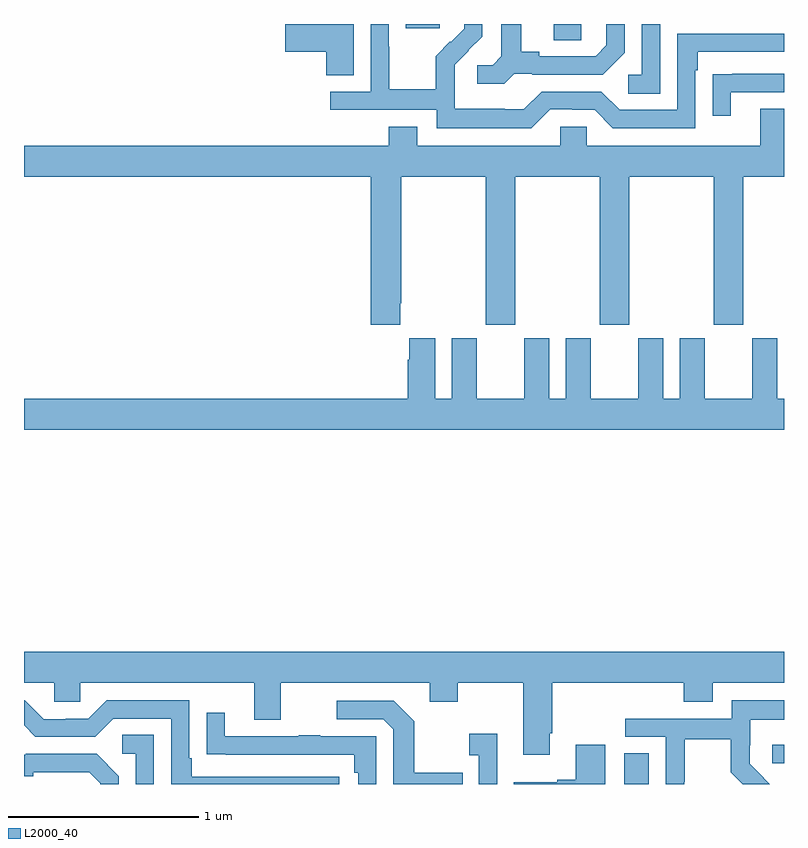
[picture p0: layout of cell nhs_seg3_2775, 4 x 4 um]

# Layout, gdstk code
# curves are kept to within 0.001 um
import gdstk
lib = gdstk.Library(unit=1e-6, precision=1e-09)
def R(c, l, rs):  # rectangles x0, y0, x1, y1
    for r in rs: c.add(gdstk.rectangle(r[:2], r[2:], *l))
def P(c, l, *ps):  # polygons
    for p in ps: c.add(gdstk.Polygon(p, *l))
L2000_40 = (2000, 40)

nhs_seg3_2775 = lib.new_cell('nhs_seg3_2775')
R(nhs_seg3_2775, L2000_40, [(258.158,684.4,258.289,684.563), (258.939,684.51,259,684.607), (257.789,688.315,257.934,688.4), (257.009,688.377,257.188,688.4)])
P(nhs_seg3_2775, L2000_40, [(258.348,688.4),(258.252,688.4),(258.252,688.134),(258.18,688.134),(258.18,688.033),(258.348,688.033)],
  [(256.735,688.4),(256.374,688.4),(256.374,688.253),(256.592,688.253),(256.592,688.129),(256.735,688.129)],
  [(257.769,687.951),(257.885,687.951),(257.885,687.948),(258.003,687.948),(258.099,687.852),(258.534,687.852),(258.534,688.157),(258.547,688.157),(258.547,688.254),(259,688.254),(259,688.35),(258.438,688.35),(258.438,687.948),(258.135,687.948),(258.039,688.044),(257.724,688.044),(257.631,687.951),(257.531,687.951),(257.531,687.955),(257.268,687.955),(257.268,688.089),(257.266,688.089),(257.266,688.186),(257.412,688.334),(257.412,688.4),(257.318,688.4),(257.318,688.376),(257.247,688.305),(257.244,688.308),(257.167,688.231),(257.167,688.057),(256.923,688.057),(256.923,688.28),(256.92,688.28),(256.92,688.4),(256.824,688.4),(256.824,688.044),(256.611,688.044),(256.611,687.948),(257.172,687.948),(257.172,687.851),(257.669,687.851)],
  [(257.58,688.137),(257.674,688.137),(257.674,688.134),(258.046,688.134),(258.162,688.25),(258.162,688.4),(258.065,688.4),(258.065,688.287),(258.008,688.23),(257.713,688.23),(257.713,688.253),(257.617,688.253),(257.617,688.4),(257.513,688.4),(257.513,688.229),(257.466,688.182),(257.385,688.182),(257.385,688.085),(257.528,688.085)],
  [(258.721,688.041),(259,688.041),(259,688.137),(258.727,688.137),(258.727,688.136),(258.625,688.136),(258.625,687.918),(258.721,687.918)],
  [(256.981,686.929),(256.986,686.929),(256.986,687.596),(257.431,687.596),(257.431,686.817),(257.586,686.817),(257.586,687.596),(258.031,687.596),(258.031,686.817),(258.186,686.817),(258.186,687.596),(258.631,687.596),(258.631,686.817),(258.786,686.817),(258.786,687.596),(259,687.596),(259,687.955),(258.875,687.955),(258.875,687.76),(257.961,687.76),(257.961,687.858),(257.823,687.858),(257.823,687.76),(257.071,687.76),(257.071,687.859),(256.919,687.859),(256.919,687.76),(255,687.76),(255,687.596),(256.826,687.596),(256.826,686.817),(256.981,686.817)],
  [(259,686.428),(258.964,686.428),(258.964,686.746),(258.833,686.746),(258.833,686.428),(258.583,686.428),(258.583,686.746),(258.452,686.746),(258.452,686.428),(258.364,686.428),(258.364,686.746),(258.233,686.746),(258.233,686.428),(257.983,686.428),(257.983,686.746),(257.852,686.746),(257.852,686.428),(257.764,686.428),(257.764,686.746),(257.633,686.746),(257.633,686.428),(257.383,686.428),(257.383,686.746),(257.252,686.746),(257.252,686.428),(257.164,686.428),(257.164,686.746),(257.027,686.746),(257.027,686.633),(257.021,686.633),(257.021,686.428),(255,686.428),(255,686.264),(259,686.264)],
  [(257.767,684.667),(257.779,684.667),(257.779,684.932),(258.473,684.932),(258.473,684.833),(258.625,684.833),(258.625,684.932),(259,684.932),(259,685.096),(255,685.096),(255,684.932),(255.159,684.932),(255.159,684.834),(255.297,684.834),(255.297,684.932),(256.211,684.932),(256.211,684.738),(256.351,684.738),(256.351,684.932),(257.135,684.932),(257.135,684.833),(257.283,684.833),(257.283,684.932),(257.627,684.932),(257.627,684.555),(257.767,684.555)],
  [(256.66,684.438),(255.883,684.438),(255.883,684.535),(255.87,684.535),(255.87,684.84),(255.435,684.84),(255.339,684.744),(255.221,684.744),(255.221,684.741),(255.105,684.741),(255.005,684.841),(255,684.841),(255,684.708),(255.06,684.648),(255.375,684.648),(255.471,684.744),(255.774,684.744),(255.774,684.4),(256.66,684.4)],
  [(258.474,684.412),(258.477,684.412),(258.477,684.636),(258.721,684.636),(258.721,684.461),(258.782,684.4),(258.924,684.4),(258.82,684.506),(258.82,684.603),(258.822,684.603),(258.822,684.737),(259,684.737),(259,684.841),(258.726,684.841),(258.726,684.744),(258.165,684.744),(258.165,684.648),(258.378,684.648),(258.378,684.4),(258.474,684.4)],
  [(257.309,684.459),(257.053,684.459),(257.053,684.731),(256.947,684.837),(256.647,684.837),(256.647,684.741),(256.89,684.741),(256.944,684.687),(256.944,684.4),(257.309,684.4)],
  [(256.854,684.651),(256.559,684.651),(256.559,684.656),(256.447,684.656),(256.447,684.651),(256.057,684.651),(256.057,684.775),(255.961,684.775),(255.961,684.556),(256.063,684.556),(256.063,684.555),(256.738,684.555),(256.738,684.458),(256.758,684.458),(256.758,684.4),(256.854,684.4)],
  [(257.49,684.664),(257.343,684.664),(257.343,684.551),(257.394,684.551),(257.394,684.4),(257.49,684.4)],
  [(255.684,684.659),(255.516,684.659),(255.516,684.558),(255.588,684.558),(255.588,684.4),(255.684,684.4)],
  [(258.058,684.607),(257.903,684.607),(257.903,684.422),(257.807,684.422),(257.807,684.409),(257.577,684.409),(257.577,684.4),(258.058,684.4)],
  [(255.498,684.442),(255.382,684.558),(255.01,684.558),(255.01,684.555),(255,684.555),(255,684.44),(255.049,684.44),(255.049,684.462),(255.344,684.462),(255.401,684.405),(255.401,684.4),(255.498,684.4)])

lib.write_gds('nhs_seg3_2775.gds')
